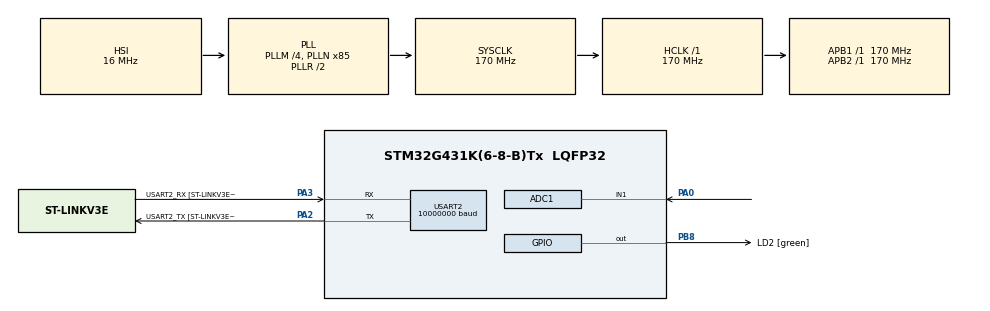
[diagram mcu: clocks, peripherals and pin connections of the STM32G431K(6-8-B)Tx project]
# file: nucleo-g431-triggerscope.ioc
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ADC1.Channel-0\#ChannelRegularConversion=ADC_CHANNEL_1
ADC1.ContinuousConvMode=ENABLE
ADC1.DMAContinuousRequests=ENABLE
ADC1.GainCompensation=0
ADC1.NbrOfConversionFlag=1
ADC1.OffsetNumber-0\#ChannelRegularConversion=ADC_OFFSET_NONE
ADC1.Overrun=ADC_OVR_DATA_OVERWRITTEN
ADC1.Rank-0\#ChannelRegularConversion=1
ADC1.SamplingTime-0\#ChannelRegularConversion=ADC_SAMPLETIME_2CYCLES_5
ADC1.master=1
Dma.ADC1.0.Direction=DMA_PERIPH_TO_MEMORY
Dma.ADC1.0.EventEnable=DISABLE
Dma.ADC1.0.Instance=DMA1_Channel1
Dma.ADC1.0.MemDataAlignment=DMA_MDATAALIGN_HALFWORD
Dma.ADC1.0.MemInc=DMA_MINC_ENABLE
Dma.ADC1.0.Mode=DMA_CIRCULAR
Dma.ADC1.0.PeriphDataAlignment=DMA_PDATAALIGN_HALFWORD
Dma.ADC1.0.PeriphInc=DMA_PINC_DISABLE
Dma.ADC1.0.Polarity=HAL_DMAMUX_REQ_GEN_RISING
Dma.ADC1.0.Priority=DMA_PRIORITY_VERY_HIGH
Dma.ADC1.0.RequestNumber=1
Dma.ADC1.0.SignalID=NONE
Dma.ADC1.0.SyncEnable=DISABLE
Dma.ADC1.0.SyncPolarity=HAL_DMAMUX_SYNC_NO_EVENT
Dma.ADC1.0.SyncRequestNumber=1
Dma.ADC1.0.SyncSignalID=NONE
Dma.Request0=ADC1
Dma.Request1=USART2_TX
Dma.USART2_TX.1.Direction=DMA_MEMORY_TO_PERIPH
Dma.USART2_TX.1.EventEnable=DISABLE
Dma.USART2_TX.1.Instance=DMA2_Channel1
Dma.USART2_TX.1.MemDataAlignment=DMA_MDATAALIGN_BYTE
Dma.USART2_TX.1.MemInc=DMA_MINC_ENABLE
Dma.USART2_TX.1.Mode=DMA_NORMAL
Dma.USART2_TX.1.PeriphDataAlignment=DMA_PDATAALIGN_BYTE
Dma.USART2_TX.1.PeriphInc=DMA_PINC_DISABLE
Dma.USART2_TX.1.Polarity=HAL_DMAMUX_REQ_GEN_RISING
Dma.USART2_TX.1.Priority=DMA_PRIORITY_HIGH
Dma.USART2_TX.1.RequestNumber=1
Dma.USART2_TX.1.SignalID=NONE
Dma.USART2_TX.1.SyncEnable=DISABLE
Dma.USART2_TX.1.SyncPolarity=HAL_DMAMUX_SYNC_NO_EVENT
Dma.USART2_TX.1.SyncRequestNumber=1
Dma.USART2_TX.1.SyncSignalID=NONE
Mcu.Family=STM32G4
Mcu.Name=STM32G431K(6-8-B)Tx
Mcu.Package=LQFP32
NVIC.DMA1_Channel1_IRQn=true\:0\:0\:false\:false\:true\:false\:true
NVIC.DMA2_Channel1_IRQn=true\:0\:0\:false\:false\:true\:false\:true
NVIC.PriorityGroup=NVIC_PRIORITYGROUP_4
NVIC.USART2_IRQn=true\:0\:0\:false\:false\:true\:true\:true
PA0.Mode=IN1-Single-Ended
PA0.Signal=ADC1_IN1
PA13.GPIO_Label=T_SWDIO
PA13.Mode=Serial_Wire
PA13.Signal=SYS_JTMS-SWDIO
PA14.GPIO_Label=T_SWCLK
PA14.Mode=Serial_Wire
PA14.Signal=SYS_JTCK-SWCLK
PA2.GPIO_Label=USART2_TX [ST-LINKV3E_VCP_RX]
PA2.Mode=Asynchronous
PA2.Signal=USART2_TX
PA3.GPIO_Label=USART2_RX [ST-LINKV3E_VCP_TX]
PA3.Mode=Asynchronous
PA3.Signal=USART2_RX
PB3.GPIO_Label=T_SWO
PB3.Signal=SYS_JTDO-SWO
PB8-BOOT0.GPIO_Label=LD2 [green]
PB8-BOOT0.Signal=GPIO_Output
ProjectManager.HeapSize=0x200
ProjectManager.StackSize=0x400
ProjectManager.TargetToolchain=STM32CubeIDE
RCC.ADC12Freq_Value=170000000
RCC.AHBFreq_Value=170000000
RCC.APB1Freq_Value=170000000
RCC.APB1TimFreq_Value=170000000
RCC.APB2Freq_Value=170000000
RCC.APB2TimFreq_Value=170000000
RCC.CortexFreq_Value=170000000
RCC.EXTERNAL_CLOCK_VALUE=12288000
RCC.HCLKFreq_Value=170000000
RCC.HSE_VALUE=8000000
RCC.HSI48_VALUE=48000000
RCC.HSI_VALUE=16000000
RCC.LSE_VALUE=32768
RCC.PLLM=RCC_PLLM_DIV4
RCC.PLLN=85
RCC.SYSCLKFreq_VALUE=170000000
RCC.SYSCLKSource=RCC_SYSCLKSOURCE_PLLCLK
RCC.USBFreq_Value=170000000
RCC.VCOOutputFreq_Value=340000000
USART2.BaudRate=10000000
USART2.FIFOMode=FIFOMODE_ENABLE
USART2.VirtualMode-Asynchronous=VM_ASYNC
USART2.WordLength=WORDLENGTH_8B
VP_CRC_VS_CRC.Mode=CRC_Activate
VP_RTC_VS_RTC_Activate.Mode=RTC_Enabled
VP_RTC_VS_RTC_Calendar.Mode=RTC_Calendar
VP_SYS_VS_DBSignals.Mode=DisableDeadBatterySignals
board=NUCLEO-G431KB

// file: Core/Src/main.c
/* USER CODE BEGIN Header */
/**
 ******************************************************************************
 * @file           : main.c
 * @brief          : Main program body
 ******************************************************************************
 * @attention
 *
 * <h2><center>&copy; Copyright (c) 2020 STMicroelectronics.
 * All rights reserved.</center></h2>
 *
 * This software component is licensed by ST under BSD 3-Clause license,
 * the "License"; You may not use this file except in compliance with the
 * License. You may obtain a copy of the License at:
 *                        opensource.org/licenses/BSD-3-Clause
 *
 ******************************************************************************
 */
/* USER CODE END Header */
#include "main.h"

/* USER CODE BEGIN Includes */

#include <stdio.h>
#include <stdlib.h>   // malloc
#include <string.h>

/* USER CODE END Includes */

/* USER CODE BEGIN PD */

#define TRIGGER_THRESHOLD 100
#define SAMPLES_IN_EVENT 1000
#define WF_PRE_SAMPLES 50		  // Samples to include before trigger
#define ADC_BUFFER_SAMPLES 3 * SAMPLES_IN_EVENT
#define FIFO_NUMWF 4

#define ADC_HALF_BUFFER_SAMPLES ADC_BUFFER_SAMPLES/2
/* Packet footer (32 bytes)
 * 4 byte uint32: event/trigger number
 * 1 byte int: fifo slot number (for debugging)
 * 19 byte ASCII string: yymmdd_hh:mm:ss.qqq, with 1 Jan 2000 = device startup
 * 8 byte magic terminator: !~O_o~! + null character
 */
#define DATE_AND_TERMINATOR_LENGTH 19 + 8
#define FOOTER_LEN 4 + 1 + DATE_AND_TERMINATOR_LENGTH
#define BYTES_PER_SAMPLE 2
#define EVENT_SIZE (SAMPLES_IN_EVENT * BYTES_PER_SAMPLE + FOOTER_LEN)

#define SLOT_FREE 0      // memory will be old junk, don't assume it's 0
#define SLOT_WRITING 1
#define SLOT_FULL 2
#define SLOT_TRANSMITTING 3

#define NO_ACTIVE_TRIGGER -1
#define NOT_TRANSMITTING -1

/* USER CODE END PD */

ADC_HandleTypeDef hadc1;
DMA_HandleTypeDef hdma_adc1;

CRC_HandleTypeDef hcrc;

RTC_HandleTypeDef hrtc;

UART_HandleTypeDef huart2;
DMA_HandleTypeDef hdma_usart2_tx;

/* USER CODE BEGIN PV */

RTC_TimeTypeDef sTime;
RTC_DateTypeDef sDate;

uint16_t adc_buf[ADC_BUFFER_SAMPLES];

// Index in adc_buf of the trigger currently being processed
int16_t active_trigger = NO_ACTIVE_TRIGGER;

// Buffer holding waveforms before transmission
unsigned char fifo[FIFO_NUMWF][EVENT_SIZE];
int fifo_status[FIFO_NUMWF];            // See SLOT_XXX defines. Could enum...
uint32_t fifo_event_number[FIFO_NUMWF]; // valid if SLOT_FULL, junk otherwise

uint32_t event_number;   // Number for the next observed event

// Fifo slot that is being sent over UART
int transmitting_slot = NOT_TRANSMITTING;

/* USER CODE END PV */

void SystemClock_Config(void);
static void MX_GPIO_Init(void);
static void MX_DMA_Init(void);
static void MX_USART2_UART_Init(void);
static void MX_ADC1_Init(void);
static void MX_CRC_Init(void);
static void MX_RTC_Init(void);
/* USER CODE BEGIN PFP */

void fill_tx_buffer();

/* USER CODE END PFP */

int main(void)
{

  /* MCU Configuration--------------------------------------------------------*/

  /* Reset of all peripherals, Initializes the Flash interface and the Systick. */
  HAL_Init();

  /* Configure the system clock */
  SystemClock_Config();

  /* Initialize all configured peripherals */
  MX_GPIO_Init();
  MX_DMA_Init();
  MX_USART2_UART_Init();
  MX_ADC1_Init();
  MX_CRC_Init();
  MX_RTC_Init();
  /* USER CODE BEGIN 2 */
	HAL_ADC_Start_DMA(&hadc1, (uint32_t*)adc_buf, ADC_BUFFER_SAMPLES);
  /* USER CODE END 2 */

  /* Infinite loop */
  /* USER CODE BEGIN WHILE */
	while (1)
	{
		if (transmitting_slot != NOT_TRANSMITTING) continue;

		// Find earliest untransmitted waveform in buffer
		int earliest_slot = -1;
		uint32_t earliest_event_number = 0;
		for (int i = 0; i < FIFO_NUMWF; i++){
			if ((fifo_status[i] == SLOT_FULL)
					&& ((earliest_slot == -1)
						|| fifo_event_number[i] <= earliest_event_number)){
				earliest_slot = i;
				earliest_event_number = fifo_event_number[i];
			}
		}
		if (earliest_slot == -1) continue;

		transmitting_slot = earliest_slot;
		fifo_status[transmitting_slot] = SLOT_TRANSMITTING;
		HAL_UART_Transmit_DMA(
				&huart2,
				(uint8_t*)fifo[transmitting_slot],
				EVENT_SIZE);

    /* USER CODE END WHILE */

	}
}

void SystemClock_Config(void)
{
  RCC_OscInitTypeDef RCC_OscInitStruct = {0};
  RCC_ClkInitTypeDef RCC_ClkInitStruct = {0};
  RCC_PeriphCLKInitTypeDef PeriphClkInit = {0};

  /** Configure the main internal regulator output voltage
  */
  HAL_PWREx_ControlVoltageScaling(PWR_REGULATOR_VOLTAGE_SCALE1_BOOST);
  /** Initializes the RCC Oscillators according to the specified parameters
  * in the RCC_OscInitTypeDef structure.
  */
  RCC_OscInitStruct.OscillatorType = RCC_OSCILLATORTYPE_HSI|RCC_OSCILLATORTYPE_LSI;
  RCC_OscInitStruct.HSIState = RCC_HSI_ON;
  RCC_OscInitStruct.HSICalibrationValue = RCC_HSICALIBRATION_DEFAULT;
  RCC_OscInitStruct.LSIState = RCC_LSI_ON;
  RCC_OscInitStruct.PLL.PLLState = RCC_PLL_ON;
  RCC_OscInitStruct.PLL.PLLSource = RCC_PLLSOURCE_HSI;
  RCC_OscInitStruct.PLL.PLLM = RCC_PLLM_DIV4;
  RCC_OscInitStruct.PLL.PLLN = 85;
  RCC_OscInitStruct.PLL.PLLP = RCC_PLLP_DIV2;
  RCC_OscInitStruct.PLL.PLLQ = RCC_PLLQ_DIV2;
  RCC_OscInitStruct.PLL.PLLR = RCC_PLLR_DIV2;
  if (HAL_RCC_OscConfig(&RCC_OscInitStruct) != HAL_OK)
  {
    Error_Handler();
  }
  /** Initializes the CPU, AHB and APB buses clocks
  */
  RCC_ClkInitStruct.ClockType = RCC_CLOCKTYPE_HCLK|RCC_CLOCKTYPE_SYSCLK
                              |RCC_CLOCKTYPE_PCLK1|RCC_CLOCKTYPE_PCLK2;
  RCC_ClkInitStruct.SYSCLKSource = RCC_SYSCLKSOURCE_PLLCLK;
  RCC_ClkInitStruct.AHBCLKDivider = RCC_SYSCLK_DIV1;
  RCC_ClkInitStruct.APB1CLKDivider = RCC_HCLK_DIV1;
  RCC_ClkInitStruct.APB2CLKDivider = RCC_HCLK_DIV1;

  if (HAL_RCC_ClockConfig(&RCC_ClkInitStruct, FLASH_LATENCY_4) != HAL_OK)
  {
    Error_Handler();
  }
  /** Initializes the peripherals clocks
  */
  PeriphClkInit.PeriphClockSelection = RCC_PERIPHCLK_RTC|RCC_PERIPHCLK_USART2
                              |RCC_PERIPHCLK_ADC12;
  PeriphClkInit.Usart2ClockSelection = RCC_USART2CLKSOURCE_PCLK1;
  PeriphClkInit.Adc12ClockSelection = RCC_ADC12CLKSOURCE_SYSCLK;
  PeriphClkInit.RTCClockSelection = RCC_RTCCLKSOURCE_LSI;

  if (HAL_RCCEx_PeriphCLKConfig(&PeriphClkInit) != HAL_OK)
  {
    Error_Handler();
  }
}

static void MX_ADC1_Init(void)
{

  ADC_MultiModeTypeDef multimode = {0};
  ADC_ChannelConfTypeDef sConfig = {0};

  /** Common config
  */
  hadc1.Instance = ADC1;
  hadc1.Init.ClockPrescaler = ADC_CLOCK_SYNC_PCLK_DIV4;
  hadc1.Init.Resolution = ADC_RESOLUTION_12B;
  hadc1.Init.DataAlign = ADC_DATAALIGN_RIGHT;
  hadc1.Init.GainCompensation = 0;
  hadc1.Init.ScanConvMode = ADC_SCAN_DISABLE;
  hadc1.Init.EOCSelection = ADC_EOC_SINGLE_CONV;
  hadc1.Init.LowPowerAutoWait = DISABLE;
  hadc1.Init.ContinuousConvMode = ENABLE;
  hadc1.Init.NbrOfConversion = 1;
  hadc1.Init.DiscontinuousConvMode = DISABLE;
  hadc1.Init.ExternalTrigConv = ADC_SOFTWARE_START;
  hadc1.Init.ExternalTrigConvEdge = ADC_EXTERNALTRIGCONVEDGE_NONE;
  hadc1.Init.DMAContinuousRequests = ENABLE;
  hadc1.Init.Overrun = ADC_OVR_DATA_OVERWRITTEN;
  hadc1.Init.OversamplingMode = DISABLE;
  if (HAL_ADC_Init(&hadc1) != HAL_OK)
  {
    Error_Handler();
  }
  /** Configure the ADC multi-mode
  */
  multimode.Mode = ADC_MODE_INDEPENDENT;
  if (HAL_ADCEx_MultiModeConfigChannel(&hadc1, &multimode) != HAL_OK)
  {
    Error_Handler();
  }
  /** Configure Regular Channel
  */
  sConfig.Channel = ADC_CHANNEL_1;
  sConfig.Rank = ADC_REGULAR_RANK_1;
  sConfig.SamplingTime = ADC_SAMPLETIME_2CYCLES_5;
  sConfig.SingleDiff = ADC_SINGLE_ENDED;
  sConfig.OffsetNumber = ADC_OFFSET_NONE;
  sConfig.Offset = 0;
  if (HAL_ADC_ConfigChannel(&hadc1, &sConfig) != HAL_OK)
  {
    Error_Handler();
  }

}

static void MX_CRC_Init(void)
{

  hcrc.Instance = CRC;
  hcrc.Init.DefaultPolynomialUse = DEFAULT_POLYNOMIAL_ENABLE;
  hcrc.Init.DefaultInitValueUse = DEFAULT_INIT_VALUE_ENABLE;
  hcrc.Init.InputDataInversionMode = CRC_INPUTDATA_INVERSION_NONE;
  hcrc.Init.OutputDataInversionMode = CRC_OUTPUTDATA_INVERSION_DISABLE;
  hcrc.InputDataFormat = CRC_INPUTDATA_FORMAT_BYTES;
  if (HAL_CRC_Init(&hcrc) != HAL_OK)
  {
    Error_Handler();
  }

}

static void MX_RTC_Init(void)
{

  RTC_TimeTypeDef sTime = {0};
  RTC_DateTypeDef sDate = {0};

  /** Initialize RTC Only
  */
  hrtc.Instance = RTC;
  hrtc.Init.HourFormat = RTC_HOURFORMAT_24;
  hrtc.Init.AsynchPrediv = 127;
  hrtc.Init.SynchPrediv = 255;
  hrtc.Init.OutPut = RTC_OUTPUT_DISABLE;
  hrtc.Init.OutPutRemap = RTC_OUTPUT_REMAP_NONE;
  hrtc.Init.OutPutPolarity = RTC_OUTPUT_POLARITY_HIGH;
  hrtc.Init.OutPutType = RTC_OUTPUT_TYPE_OPENDRAIN;
  hrtc.Init.OutPutPullUp = RTC_OUTPUT_PULLUP_NONE;
  if (HAL_RTC_Init(&hrtc) != HAL_OK)
  {
    Error_Handler();
  }

  /** Initialize RTC and set the Time and Date
  */
  sTime.Hours = 0x0;
  sTime.Minutes = 0x0;
  sTime.Seconds = 0x0;
  sTime.SubSeconds = 0x0;
  sTime.DayLightSaving = RTC_DAYLIGHTSAVING_NONE;
  sTime.StoreOperation = RTC_STOREOPERATION_RESET;
  if (HAL_RTC_SetTime(&hrtc, &sTime, RTC_FORMAT_BCD) != HAL_OK)
  {
    Error_Handler();
  }
  sDate.WeekDay = RTC_WEEKDAY_MONDAY;
  sDate.Month = RTC_MONTH_JANUARY;
  sDate.Date = 0x1;
  sDate.Year = 0x0;

  if (HAL_RTC_SetDate(&hrtc, &sDate, RTC_FORMAT_BCD) != HAL_OK)
  {
    Error_Handler();
  }

}

static void MX_USART2_UART_Init(void)
{

  huart2.Instance = USART2;
  huart2.Init.BaudRate = 10000000;
  huart2.Init.WordLength = UART_WORDLENGTH_8B;
  huart2.Init.StopBits = UART_STOPBITS_1;
  huart2.Init.Parity = UART_PARITY_NONE;
  huart2.Init.Mode = UART_MODE_TX_RX;
  huart2.Init.HwFlowCtl = UART_HWCONTROL_NONE;
  huart2.Init.OverSampling = UART_OVERSAMPLING_16;
  huart2.Init.OneBitSampling = UART_ONE_BIT_SAMPLE_DISABLE;
  huart2.Init.ClockPrescaler = UART_PRESCALER_DIV1;
  huart2.AdvancedInit.AdvFeatureInit = UART_ADVFEATURE_NO_INIT;
  if (HAL_UART_Init(&huart2) != HAL_OK)
  {
    Error_Handler();
  }
  if (HAL_UARTEx_SetTxFifoThreshold(&huart2, UART_TXFIFO_THRESHOLD_1_8) != HAL_OK)
  {
    Error_Handler();
  }
  if (HAL_UARTEx_SetRxFifoThreshold(&huart2, UART_RXFIFO_THRESHOLD_1_8) != HAL_OK)
  {
    Error_Handler();
  }
  if (HAL_UARTEx_EnableFifoMode(&huart2) != HAL_OK)
  {
    Error_Handler();
  }

}

static void MX_DMA_Init(void)
{

  /* DMA controller clock enable */
  __HAL_RCC_DMAMUX1_CLK_ENABLE();
  __HAL_RCC_DMA1_CLK_ENABLE();
  __HAL_RCC_DMA2_CLK_ENABLE();

  /* DMA interrupt init */
  /* DMA1_Channel1_IRQn interrupt configuration */
  HAL_NVIC_SetPriority(DMA1_Channel1_IRQn, 0, 0);
  HAL_NVIC_EnableIRQ(DMA1_Channel1_IRQn);
  /* DMA2_Channel1_IRQn interrupt configuration */
  HAL_NVIC_SetPriority(DMA2_Channel1_IRQn, 0, 0);
  HAL_NVIC_EnableIRQ(DMA2_Channel1_IRQn);

}

static void MX_GPIO_Init(void)
{
  GPIO_InitTypeDef GPIO_InitStruct = {0};

  /* GPIO Ports Clock Enable */
  __HAL_RCC_GPIOA_CLK_ENABLE();
  __HAL_RCC_GPIOB_CLK_ENABLE();

  /*Configure GPIO pin Output Level */
  HAL_GPIO_WritePin(LD2_GPIO_Port, LD2_Pin, GPIO_PIN_RESET);

  /*Configure GPIO pin : LD2_Pin */
  GPIO_InitStruct.Pin = LD2_Pin;
  GPIO_InitStruct.Mode = GPIO_MODE_OUTPUT_PP;
  GPIO_InitStruct.Pull = GPIO_NOPULL;
  GPIO_InitStruct.Speed = GPIO_SPEED_FREQ_LOW;
  HAL_GPIO_Init(LD2_GPIO_Port, &GPIO_InitStruct);

}

/* USER CODE BEGIN 4 */

void HAL_UART_TxCpltCallback(UART_HandleTypeDef * huart){
	fifo_status[transmitting_slot] = SLOT_FREE;
	transmitting_slot = NOT_TRANSMITTING;
}

void write_RTC_datetime(unsigned char *datetime_str){
	HAL_RTC_GetTime(&hrtc, &sTime, RTC_FORMAT_BIN);
	HAL_RTC_GetDate(&hrtc, &sDate, RTC_FORMAT_BIN);
	snprintf((char *) datetime_str,
			 DATE_AND_TERMINATOR_LENGTH,
             "%02d%02d%02d_%02d:%02d:%02d.%03ld!~O_o~!",
 			 sDate.Year, sDate.Month, sDate.Date,
 			 sTime.Hours, sTime.Minutes, sTime.Seconds,
			 (1000 - (1000 * sTime.SubSeconds)/sTime.SecondFraction) );
}

void copy_wf_to_fifo (){
	event_number += 1;

	// Find a free slot to store the waveform
	int free_slot_i = -1;
	for (int i = 0; i < FIFO_NUMWF; i++){
		if (fifo_status[i] == SLOT_FREE){
			free_slot_i = i;
			break;
		}
	}
	if (free_slot_i == -1) {
		// Can't save this trigger, no free slot
		active_trigger = NO_ACTIVE_TRIGGER;
		return;
	}

	fifo_status[free_slot_i] = SLOT_WRITING;
	fifo_event_number[free_slot_i] = event_number;

	// Index in adc_buf where the event starts
	int16_t event_start = active_trigger - WF_PRE_SAMPLES;
	if (event_start < 0)
		event_start = ADC_BUFFER_SAMPLES + event_start;

	// Form a waveform packet inside our assigned fifo slot
	// pos tracks our position / bytes written
	unsigned char* slot = fifo[free_slot_i];
	uint16_t pos = 0;

	// Copy over the data (BYTES_PER_SAMPLE * SAMPLES_IN_EVENT bytes)
	if (event_start > (ADC_BUFFER_SAMPLES - SAMPLES_IN_EVENT)){
		// The event wraps around the buffer
		// could in-line this... maybe compiler is nice enough to do this for us?
		uint16_t samples_near_end = ADC_BUFFER_SAMPLES - event_start;
		uint16_t samples_near_start = SAMPLES_IN_EVENT - samples_near_end;
		memcpy(&slot[pos],
               &adc_buf[event_start],
               samples_near_end * BYTES_PER_SAMPLE);
		pos += samples_near_end * BYTES_PER_SAMPLE;
		memcpy(&slot[pos],
			   &adc_buf[0],
			   samples_near_start * BYTES_PER_SAMPLE);
		pos += samples_near_start * BYTES_PER_SAMPLE;
	}
	else {
		// The event is in sequential memory
		memcpy(&slot[pos],
			   &adc_buf[event_start],
			   SAMPLES_IN_EVENT * BYTES_PER_SAMPLE);
		pos += SAMPLES_IN_EVENT * BYTES_PER_SAMPLE;
	}

	// Event number
	memcpy(&slot[pos], &event_number, sizeof(event_number));   // TODO: sizeof(var) is clearer, try it
	pos += sizeof(event_number);

	// FIFO slot number
	slot[pos] = (unsigned char)free_slot_i;
	pos += 1;

	// Datetime string
	write_RTC_datetime(&slot[pos]);
	pos += DATE_AND_TERMINATOR_LENGTH;

	active_trigger = NO_ACTIVE_TRIGGER;
	fifo_status[free_slot_i] = SLOT_FULL;
}

void check_half_buffer_for_trigger(int start_i){
	if (active_trigger != NO_ACTIVE_TRIGGER){
		/* There was a trigger in the previous half buffer,
		 * but it needed data from this half to complete the waveform */
		copy_wf_to_fifo();

	} else {
		/* look for a trigger in the half full buffer of new data */
		for (int i=start_i; i < start_i + ADC_HALF_BUFFER_SAMPLES; i=i+1){
			if (adc_buf[i] > TRIGGER_THRESHOLD) {
				active_trigger = i;
				break;
			}
		}
	}

	if (active_trigger != NO_ACTIVE_TRIGGER
			&& (active_trigger < start_i + ADC_HALF_BUFFER_SAMPLES - (SAMPLES_IN_EVENT - WF_PRE_SAMPLES))) {
		// The entire event we found lies in this half-buffer, so just copy it out */
		copy_wf_to_fifo();
	}
}

void HAL_ADC_ConvHalfCpltCallback (ADC_HandleTypeDef * hadc){
	check_half_buffer_for_trigger(0);
}

void HAL_ADC_ConvCpltCallback (ADC_HandleTypeDef * hadc){
	check_half_buffer_for_trigger(ADC_HALF_BUFFER_SAMPLES);
}

/* USER CODE END 4 */

void Error_Handler(void)
{
}

/************************ (C) COPYRIGHT STMicroelectronics *****END OF FILE****/
